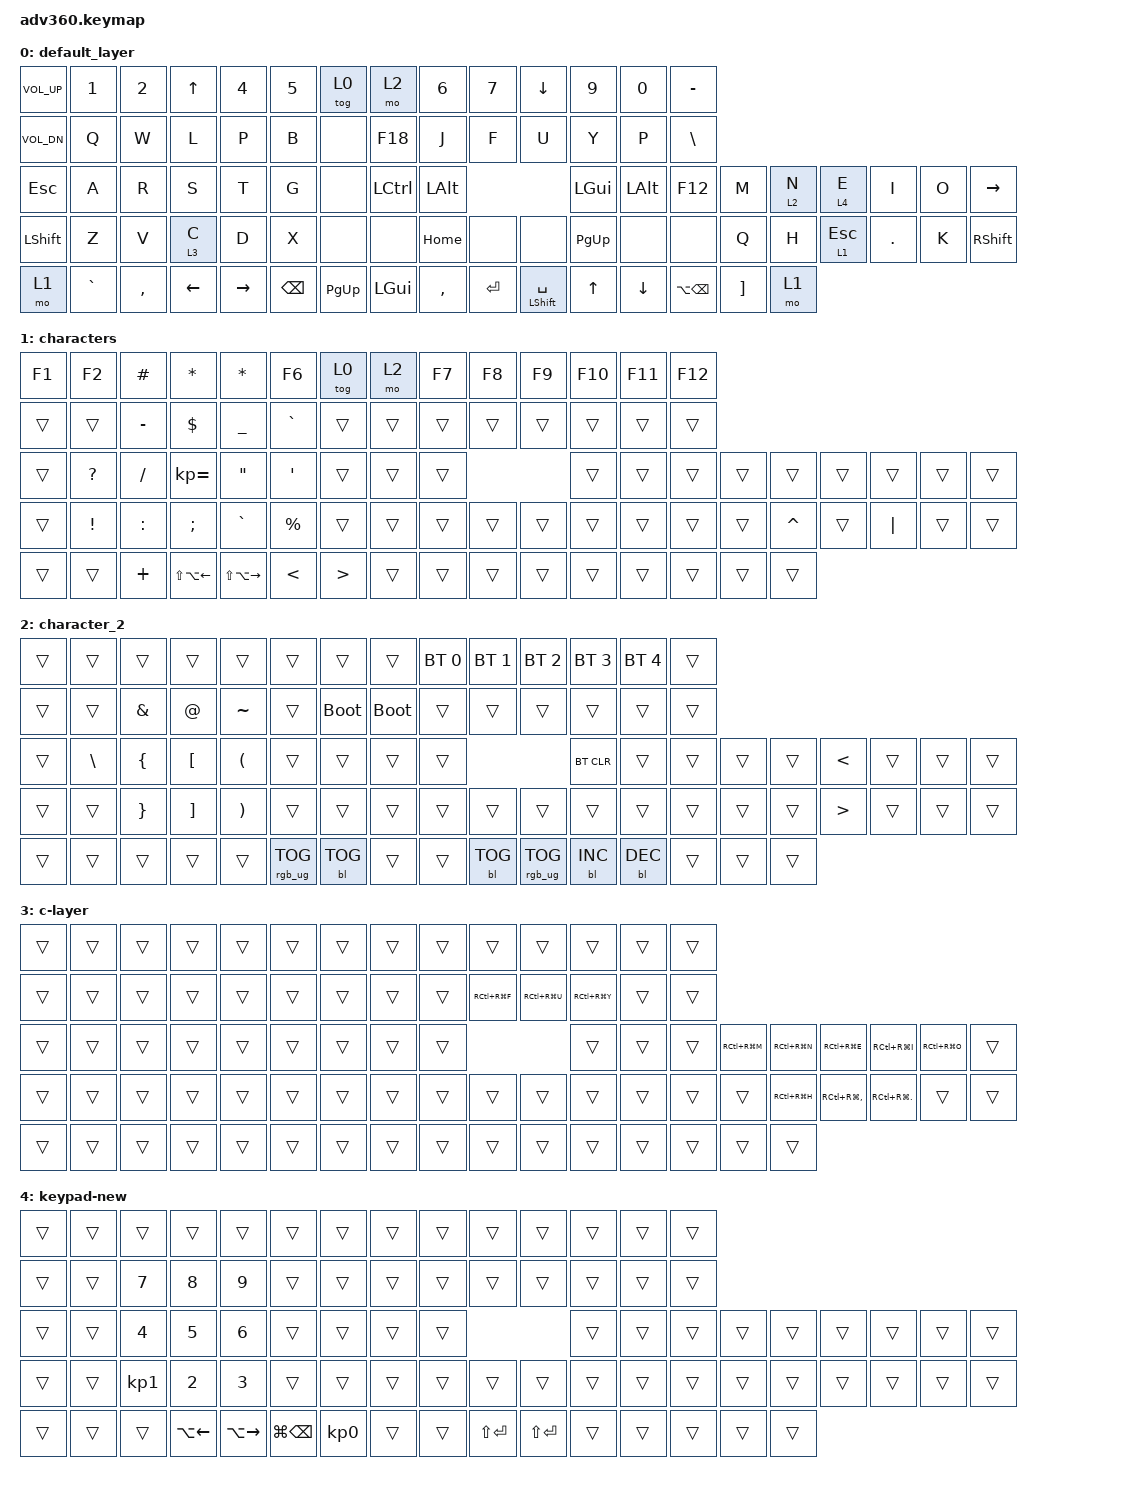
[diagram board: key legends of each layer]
/*
 * Copyright (c) 2020 The ZMK Contributors
 *
 * SPDX-License-Identifier: MIT
 */
/* THIS FILE WAS GENERATED!
 *
 * This file was generated automatically. You may or may not want to
 * edit it directly.
 */

#include <behaviors.dtsi>
#include <dt-bindings/zmk/backlight.h>
#include <dt-bindings/zmk/bt.h>
#include <dt-bindings/zmk/keys.h>
#include <dt-bindings/zmk/rgb.h>

#define KEYPAD_LAYER 1

/ {
    behaviors {
        #include "macros.dtsi"

        hm: homerow_mods {
            compatible = "zmk,behavior-hold-tap";
            label = "HOMEROW_MODS";
            #binding-cells = <2>;
            tapping-term-ms = <200>;
            quick_tap_ms = <175>;
            flavor = "tap-preferred";
            bindings = <&kp>, <&kp>;
        };

        tlb: toggle_layer_balanced {
            compatible = "zmk,behavior-hold-tap";
            label = "TOGLE_LAYER_BALANCED";
            #binding-cells = <2>;
            tapping-term-ms = <200>;
            flavor = "balanced";
            bindings = <&mo>, <&kp>;
        };

        thb: tap_hold_balanced {
            compatible = "zmk,behavior-hold-tap";
            label = "THB";
            bindings = <&kp>, <&kp>;

            #binding-cells = <2>;
            tapping-term-ms = <200>;
            flavor = "balanced";
        };
    };
            
    macros {
        zed_em_kay: zed_em_kay {
            compatible = "zmk,behavior-macro";
            #binding-cells = <0>;
            bindings
                = <&macro_press &kp LSHFT>
                , <&macro_tap &kp Z &kp M &kp K>
                , <&macro_release &kp LSHFT>
                ;
        };
    };


    keymap {
        compatible = "zmk,keymap";

        default_layer {
            bindings = <
&kp C_VOLUME_UP  &kp N1     &kp N2     &kp UP_ARROW  &kp N4     &kp N5    &tog 0       &mo 2         &kp N6     &kp N7     &kp DOWN               &kp N9     &kp N0        &kp MINUS
&kp C_VOL_DN     &kp Q      &kp W      &kp L         &kp P      &kp B     &none        &kp F18       &kp J      &kp F      &kp U                  &kp Y      &kp P         &kp BSLH
&kp ESC          &kp A      &kp R      &kp S         &kp T      &kp G     &none        &kp LCTRL     &kp LALT                                     &kp LGUI   &kp LEFT_ALT  &kp F12            &kp M     &tlb 2 N  &tlb 4 E       &kp I    &kp O  &kp RIGHT
&kp LSHFT        &kp Z      &kp V      &tlb 3 C      &kp D      &kp X     &none        &none         &kp HOME   &none      &none                  &kp PG_UP  &none         &none              &kp Q     &kp H     &tlb 1 ESCAPE  &kp DOT  &kp K  &kp RSHFT
&mo 1            &kp GRAVE  &kp COMMA  &kp LEFT      &kp RIGHT  &kp BSPC  &kp PAGE_UP  &kp LEFT_GUI  &kp COMMA  &kp ENTER  &thb LEFT_SHIFT SPACE  &kp UP     &kp DOWN      &kp LA(BACKSPACE)  &kp RBKT  &mo 1
            >;
        };

        characters {
            bindings = <
&kp F1  &kp F2           &kp HASH   &kp ASTERISK            &kp ASTRK                &kp F6            &tog 0            &mo 2   &kp F7  &kp F8  &kp F9  &kp F10  &kp F11  &kp F12
&trans  &trans           &kp MINUS  &kp DOLLAR              &kp UNDER                &kp GRAVE         &trans            &trans  &trans  &trans  &trans  &trans   &trans   &trans
&trans  &kp QUESTION     &kp SLASH  &kp KP_EQUAL            &kp DOUBLE_QUOTES        &kp SINGLE_QUOTE  &trans            &trans  &trans                  &trans   &trans   &trans   &trans  &trans     &trans  &trans    &trans  &trans
&trans  &kp EXCLAMATION  &kp COLON  &kp SEMICOLON           &kp GRAVE                &kp PERCENT       &trans            &trans  &trans  &trans  &trans  &trans   &trans   &trans   &trans  &kp CARET  &trans  &kp PIPE  &trans  &trans
&trans  &trans           &kp PLUS   &kp LS(LA(LEFT_ARROW))  &kp LS(LA(RIGHT_ARROW))  &kp LESS_THAN     &kp GREATER_THAN  &trans  &trans  &trans  &trans  &trans   &trans   &trans   &trans  &trans
            >;
        };

        character_2 {
            bindings = <
&trans  &trans         &trans           &trans             &trans                 &trans           &trans       &trans       &bt BT_SEL 0  &bt BT_SEL 1  &bt BT_SEL 2     &bt BT_SEL 3  &bt BT_SEL 4  &trans
&trans  &trans         &kp AMPERSAND    &kp AT_SIGN        &kp TILDE              &trans           &bootloader  &bootloader  &trans        &trans        &trans           &trans        &trans        &trans
&trans  &kp BACKSLASH  &kp LEFT_BRACE   &kp LEFT_BRACKET   &kp LEFT_PARENTHESIS   &trans           &trans       &trans       &trans                                       &bt BT_CLR    &trans        &trans  &trans  &trans  &kp LESS_THAN     &trans  &trans  &trans
&trans  &trans         &kp RIGHT_BRACE  &kp RIGHT_BRACKET  &kp RIGHT_PARENTHESIS  &trans           &trans       &trans       &trans        &trans        &trans           &trans        &trans        &trans  &trans  &trans  &kp GREATER_THAN  &trans  &trans  &trans
&trans  &trans         &trans           &trans             &trans                 &rgb_ug RGB_TOG  &bl BL_TOG   &trans       &trans        &bl BL_TOG    &rgb_ug RGB_TOG  &bl BL_INC    &bl BL_DEC    &trans  &trans  &trans
            >;
        };

        c-layer {
            bindings = <
&trans  &trans  &trans  &trans  &trans  &trans  &trans  &trans  &trans  &trans         &trans         &trans         &trans  &trans
&trans  &trans  &trans  &trans  &trans  &trans  &trans  &trans  &trans  &kp RC(RG(F))  &kp RC(RG(U))  &kp RC(RG(Y))  &trans  &trans
&trans  &trans  &trans  &trans  &trans  &trans  &trans  &trans  &trans                                &trans         &trans  &trans  &kp RC(RG(M))  &kp RC(RG(N))  &kp RC(RG(E))      &kp RC(RG(I))    &kp RC(RG(O))  &trans
&trans  &trans  &trans  &trans  &trans  &trans  &trans  &trans  &trans  &trans         &trans         &trans         &trans  &trans  &trans         &kp RC(RG(H))  &kp RC(RG(COMMA))  &kp RC(RG(DOT))  &trans         &trans
&trans  &trans  &trans  &trans  &trans  &trans  &trans  &trans  &trans  &trans         &trans         &trans         &trans  &trans  &trans         &trans
            >;
        };

        keypad-new {
            bindings = <
&trans  &trans  &trans           &trans              &trans               &trans        &trans           &trans  &trans  &trans         &trans         &trans  &trans  &trans
&trans  &trans  &kp N7           &kp N8              &kp N9               &trans        &trans           &trans  &trans  &trans         &trans         &trans  &trans  &trans
&trans  &trans  &kp N4           &kp N5              &kp N6               &trans        &trans           &trans  &trans                                &trans  &trans  &trans  &trans  &trans  &trans  &trans  &trans  &trans
&trans  &trans  &kp KP_NUMBER_1  &kp N2              &kp N3               &trans        &trans           &trans  &trans  &trans         &trans         &trans  &trans  &trans  &trans  &trans  &trans  &trans  &trans  &trans
&trans  &trans  &trans           &kp LA(LEFT_ARROW)  &kp LA(RIGHT_ARROW)  &kp LG(BSPC)  &kp KP_NUMBER_0  &trans  &trans  &kp LS(ENTER)  &kp LS(ENTER)  &trans  &trans  &trans  &trans  &trans
            >;
        };
    };
};
